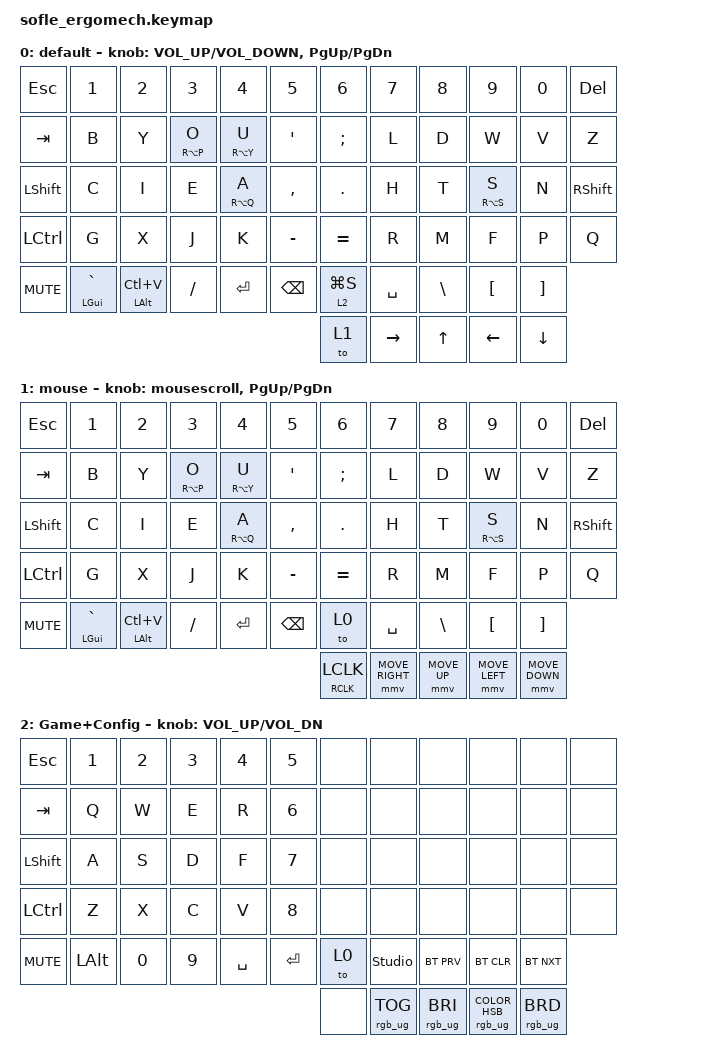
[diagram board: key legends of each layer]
/*
 * Copyright (c) 2020 The ZMK Contributors
 *
 * SPDX-License-Identifier: MIT
 */

#define ZMK_POINTING_DEFAULT_SCRL_VAL 300

#include <behaviors.dtsi>
#include <dt-bindings/zmk/bt.h>
#include <dt-bindings/zmk/keys.h>
#include <dt-bindings/zmk/pointing.h>
#include <dt-bindings/zmk/rgb.h>

#define BASE 0
#define LOWER 1
#define RAISE 2
#define ADJUST 3

&mt {
    tapping-term-ms = <250>;
    flavor = "tap-preferred";
};

/ {
    // Activate ADJUST layer by pressing raise and lower

    conditional_layers { compatible = "zmk,conditional-layers"; };

    behaviors {
        mousescroll: mousescroll {
            compatible = "zmk,behavior-sensor-rotate";
            #sensor-binding-cells = <0>;
            bindings = <&msc SCRL_UP>, <&msc SCRL_DOWN>;

            tap-ms = <20>;
        };

        mmt: mmt {
            compatible = "zmk,behavior-hold-tap";
            label = "Mouse Mod Tap";
            bindings = <&mkp>, <&mkp>;

            #binding-cells = <2>;
            flavor = "tap-preferred";
            tapping-term-ms = <250>;
        };

        holdtolayer: holdtolayer {
            compatible = "zmk,behavior-hold-tap";
            label = "HOLDTOLAYER";
            bindings = <&to>, <&kp>;

            #binding-cells = <2>;
            tapping-term-ms = <250>;
            flavor = "tap-preferred";
        };
    };

    macros {
        test: test {
            compatible = "zmk,behavior-macro";
            #binding-cells = <0>;
            bindings = <&none>, <&macro_press>, <&macro_press>;

            label = "TEST";
        };
    };

    keymap {
        compatible = "zmk,keymap";

        default_layer {
            label = "default";

            // ------------------------------------------------------------------------------------------------------------
            // |   `   |  1  |  2  |  3   |  4   |  5   |                   |  6   |  7    |  8    |  9   |   0   |       |
            // |  ESC  |  Q  |  W  |  E   |  R   |  T   |                   |  Y   |  U    |  I    |  O   |   P   | BKSPC |
            // |  TAB  |  A  |  S  |  D   |  F   |  G   |                   |  H   |  J    |  K    |  L   |   ;   |   '   |
            // | SHIFT |  Z  |  X  |  C   |  V   |  B   |  MUTE  |  |       |  N   |  M    |  ,    |  .   |   /   | SHIFT |
            //               | GUI | ALT  | CTRL | LOWER|  ENTER |  | SPACE | RAISE| CTRL  | ALT   | GUI  |

            bindings = <
&kp ESC         &kp N1          &kp N2              &kp N3       &kp N4       &kp N5         &kp N6                &kp N7     &kp N8         &kp N9            &kp N0             &kp DELETE
&kp TAB         &kp B           &kp Y               &mt RA(P) O  &mt RA(Y) U  &kp SQT        &kp SEMI              &kp L      &kp D          &kp W             &kp V              &kp Z
&kp LEFT_SHIFT  &kp C           &kp I               &kp E        &mt RA(Q) A  &kp COMMA      &kp PERIOD            &kp H      &kp T          &mt RA(S) S       &kp N              &kp RIGHT_SHIFT
&kp LCTRL       &kp G           &kp X               &kp J        &kp K        &kp MINUS      &kp EQUAL             &kp R      &kp M          &kp F             &kp P              &kp Q
&kp C_MUTE      &mt LGUI GRAVE  &mt LEFT_ALT LC(V)  &kp SLASH    &kp ENTER    &kp BACKSPACE  &holdtolayer 2 LG(S)  &kp SPACE  &kp BACKSLASH  &kp LEFT_BRACKET  &kp RIGHT_BRACKET
                                                                                             &to 1                 &kp RIGHT  &kp UP         &kp LEFT          &kp DOWN
            >;

            sensor-bindings =
                <&inc_dec_kp C_VOLUME_UP C_VOLUME_DOWN>,
                <&inc_dec_kp PG_UP PG_DN>;
        };

        mouse {
            label = "mouse";
            bindings = <
&kp ESC         &kp N1          &kp N2              &kp N3       &kp N4       &kp N5         &kp N6          &kp N7           &kp N8         &kp N9            &kp N0             &kp DELETE
&kp TAB         &kp B           &kp Y               &mt RA(P) O  &mt RA(Y) U  &kp SQT        &kp SEMI        &kp L            &kp D          &kp W             &kp V              &kp Z
&kp LEFT_SHIFT  &kp C           &kp I               &kp E        &mt RA(Q) A  &kp COMMA      &kp PERIOD      &kp H            &kp T          &mt RA(S) S       &kp N              &kp RIGHT_SHIFT
&kp LCTRL       &kp G           &kp X               &kp J        &kp K        &kp MINUS      &kp EQUAL       &kp R            &kp M          &kp F             &kp P              &kp Q
&kp C_MUTE      &mt LGUI GRAVE  &mt LEFT_ALT LC(V)  &kp SLASH    &kp ENTER    &kp BACKSPACE  &to 0           &kp SPACE        &kp BACKSLASH  &kp LEFT_BRACKET  &kp RIGHT_BRACKET
                                                                                             &mmt RCLK LCLK  &mmv MOVE_RIGHT  &mmv MOVE_UP   &mmv MOVE_LEFT    &mmv MOVE_DOWN
            >;

            sensor-bindings = <&mousescroll>, <&inc_dec_kp PG_UP PG_DN>;
        };

        Game+Config {
            bindings = <
&kp ESC     &kp N1    &kp N2  &kp N3  &kp N4     &kp N5     &none  &none            &none            &none                           &none            &none
&kp TAB     &kp Q     &kp W   &kp E   &kp R      &kp N6     &none  &none            &none            &none                           &none            &none
&kp LSHFT   &kp A     &kp S   &kp D   &kp F      &kp N7     &none  &none            &none            &none                           &none            &none
&kp LCTRL   &kp Z     &kp X   &kp C   &kp V      &kp N8     &none  &none            &none            &none                           &none            &none
&kp C_MUTE  &kp LALT  &kp N0  &kp N9  &kp SPACE  &kp ENTER  &to 0  &studio_unlock   &bt BT_PRV       &bt BT_CLR                      &bt BT_NXT
                                                            &none  &rgb_ug RGB_TOG  &rgb_ug RGB_BRI  &rgb_ug RGB_COLOR_HSB(0,0,100)  &rgb_ug RGB_BRD
            >;

            sensor-bindings = <&inc_dec_kp C_VOLUME_UP C_VOL_DN>;
        };
    };
};
